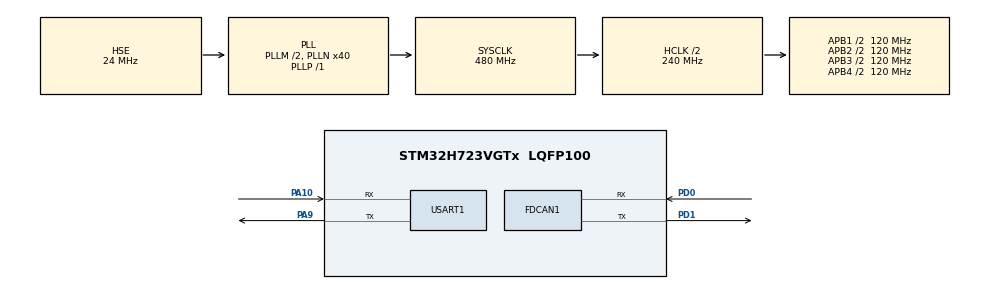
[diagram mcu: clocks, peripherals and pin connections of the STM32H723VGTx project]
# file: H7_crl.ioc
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CORTEX_M7.default_mode_Activation=1
Dma.Request0=USART1_TX
Dma.USART1_TX.0.Direction=DMA_MEMORY_TO_PERIPH
Dma.USART1_TX.0.EventEnable=DISABLE
Dma.USART1_TX.0.FIFOMode=DMA_FIFOMODE_DISABLE
Dma.USART1_TX.0.Instance=DMA1_Stream0
Dma.USART1_TX.0.MemDataAlignment=DMA_MDATAALIGN_BYTE
Dma.USART1_TX.0.MemInc=DMA_MINC_ENABLE
Dma.USART1_TX.0.Mode=DMA_NORMAL
Dma.USART1_TX.0.PeriphDataAlignment=DMA_PDATAALIGN_BYTE
Dma.USART1_TX.0.PeriphInc=DMA_PINC_DISABLE
Dma.USART1_TX.0.Polarity=HAL_DMAMUX_REQ_GEN_RISING
Dma.USART1_TX.0.Priority=DMA_PRIORITY_LOW
Dma.USART1_TX.0.RequestNumber=1
Dma.USART1_TX.0.SignalID=NONE
Dma.USART1_TX.0.SyncEnable=DISABLE
Dma.USART1_TX.0.SyncPolarity=HAL_DMAMUX_SYNC_NO_EVENT
Dma.USART1_TX.0.SyncRequestNumber=1
Dma.USART1_TX.0.SyncSignalID=NONE
FDCAN1.CalculateBaudRateNominal=1000000
FDCAN1.CalculateTimeBitNominal=1000
FDCAN1.CalculateTimeQuantumNominal=25.0
FDCAN1.DataPrescaler=3
FDCAN1.DataSyncJumpWidth=10
FDCAN1.DataTimeSeg1=29
FDCAN1.DataTimeSeg2=10
FDCAN1.NominalPrescaler=3
FDCAN1.NominalSyncJumpWidth=10
FDCAN1.NominalTimeSeg1=29
FDCAN1.NominalTimeSeg2=10
FDCAN1.RxFifo0ElmtsNbr=4
FDCAN1.StdFiltersNbr=1
FDCAN1.TxFifoQueueElmtsNbr=3
Mcu.Family=STM32H7
Mcu.Name=STM32H723VGTx
Mcu.Package=LQFP100
NVIC.DMA1_Stream0_IRQn=true\:0\:0\:false\:false\:true\:false\:true\:true
NVIC.FDCAN1_IT0_IRQn=true\:0\:0\:false\:false\:true\:true\:true\:true
NVIC.PriorityGroup=NVIC_PRIORITYGROUP_4
PA10.Mode=Asynchronous
PA10.Signal=USART1_RX
PA13(JTMS/SWDIO).Mode=Serial_Wire
PA13(JTMS/SWDIO).Signal=DEBUG_JTMS-SWDIO
PA14(JTCK/SWCLK).Mode=Serial_Wire
PA14(JTCK/SWCLK).Signal=DEBUG_JTCK-SWCLK
PA9.Mode=Asynchronous
PA9.Signal=USART1_TX
PD0.Mode=FDCAN_Activate
PD0.Signal=FDCAN1_RX
PD1.Mode=FDCAN_Activate
PD1.Signal=FDCAN1_TX
PH0-OSC_IN.Mode=HSE-External-Oscillator
PH0-OSC_IN.Signal=RCC_OSC_IN
PH1-OSC_OUT.Mode=HSE-External-Oscillator
PH1-OSC_OUT.Signal=RCC_OSC_OUT
ProjectManager.HeapSize=0x200
ProjectManager.StackSize=0x400
ProjectManager.TargetToolchain=MDK-ARM V5.32
RCC.ADCFreq_Value=84500000
RCC.APB1Freq_Value=120000000
RCC.APB2Freq_Value=120000000
RCC.APB3Freq_Value=120000000
RCC.APB4Freq_Value=120000000
RCC.CortexFreq_Value=480000000
RCC.D1PPRE=RCC_APB3_DIV2
RCC.D2PPRE1=RCC_APB1_DIV2
RCC.D2PPRE2=RCC_APB2_DIV2
RCC.D3PPRE=RCC_APB4_DIV2
RCC.DIVM1=2
RCC.DIVM2=24
RCC.DIVN1=40
RCC.DIVN2=169
RCC.DIVP1=1
RCC.DIVQ1=4
RCC.DIVQ2=3
RCC.HCLKFreq_Value=240000000
RCC.HPRE=RCC_HCLK_DIV2
RCC.HSE_VALUE=24000000
RCC.PLLSourceVirtual=RCC_PLLSOURCE_HSE
RCC.SYSCLKFreq_VALUE=480000000
RCC.SYSCLKSource=RCC_SYSCLKSOURCE_PLLCLK
RCC.USART16CLockSelection=RCC_USART16910CLKSOURCE_PLL2
RCC.USBFreq_Value=120000000
USART1.VirtualMode-Asynchronous=VM_ASYNC
board=custom

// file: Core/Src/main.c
/* USER CODE BEGIN Header */
/**
  ******************************************************************************
  * @file           : main.c
  * @brief          : Main program body
  ******************************************************************************
  * @attention
  *
  * Copyright (c) 2026 STMicroelectronics.
  * All rights reserved.
  *
  * This software is licensed under terms that can be found in the LICENSE file
  * in the root directory of this software component.
  * If no LICENSE file comes with this software, it is provided AS-IS.
  *
  ******************************************************************************
  */
/* USER CODE END Header */
#include "main.h"
#include "dma.h"
#include "fdcan.h"
#include "usart.h"
#include "gpio.h"

/* USER CODE BEGIN Includes */
#include "motor.h"
#include "PID.h"
#include "vofa.h"

/* USER CODE END Includes */

/* USER CODE BEGIN PV */
static float pid_para[2][3] = {{1,0.001,0},{0.1,0.03,0}};
float t=0;
/* USER CODE END PV */

void SystemClock_Config(void);
static void MPU_Config(void);

int main(void)
{

  /* MPU Configuration--------------------------------------------------------*/
  MPU_Config();

  /* MCU Configuration--------------------------------------------------------*/

  /* Reset of all peripherals, Initializes the Flash interface and the Systick. */
  HAL_Init();

  /* Configure the system clock */
  SystemClock_Config();

  /* Initialize all configured peripherals */
  MX_GPIO_Init();
  MX_DMA_Init();
  MX_FDCAN1_Init();
  MX_USART1_UART_Init();
  /* USER CODE BEGIN 2 */
	bsp_can_init();
	dm_motor_init();

	PID_TypeDef motor_angle_PID;
	PID_TypeDef motor_speed_PID;

	PID_Init(&motor_angle_PID, 0,0,0);
	PID_Init(&motor_speed_PID, 0,0,0);
	enable_motor(&hfdcan1, 0x01);
	PID_SetOutputLimit(&motor_angle_PID,5,-5);
	PID_SetOutputLimit(&motor_speed_PID,5,-5);
	PID_SetIntegralLimit(&motor_angle_PID,5,-5);
	PID_SetIntegralLimit(&motor_speed_PID,5,-5);

  /* USER CODE END 2 */

  /* Infinite loop */
  /* USER CODE BEGIN WHILE */
  while (1)
  {

		motor_angle_PID.kp = pid_para[0][0];
		motor_angle_PID.ki = pid_para[0][1];
		motor_angle_PID.kd = pid_para[0][2];

	float p_target=motor.ctrl.pos_set=t;
	PID_SetTarget(&motor_angle_PID, p_target);
	float p_feedback= motor.para.pos;
	PID_SetFeedback(&motor_angle_PID , p_feedback);
	float v_target=PID_Calculate(&motor_angle_PID, PID_POSITION );

		motor_speed_PID.kp = pid_para[1][0];
		motor_speed_PID.ki = pid_para[1][1];
		motor_speed_PID.kd = pid_para[1][2];

	PID_SetTarget(&motor_speed_PID, v_target);
	float v_feedback= motor.para.vel;
	PID_SetFeedback(&motor_speed_PID , v_feedback);

	float tor=PID_Calculate(&motor_speed_PID, PID_POSITION );

	mit_ctrl(&hfdcan1, &motor,0x01, 0, 0, 0,  0,  tor);

	HAL_Delay(5);

	vofa_buff[0] = p_target;
  vofa_buff[1] = p_feedback;
	vofa_buff[2] = v_target;
  vofa_buff[3] = v_feedback;
	JustFloat(vofa_buff,4);

    /* USER CODE END WHILE */

    /* USER CODE BEGIN 3 */
  }

	//disable_motor(&hfdcan1, 0x01);

  /* USER CODE END 3 */
}

void SystemClock_Config(void)
{
  RCC_OscInitTypeDef RCC_OscInitStruct = {0};
  RCC_ClkInitTypeDef RCC_ClkInitStruct = {0};

  /** Supply configuration update enable
  */
  HAL_PWREx_ConfigSupply(PWR_LDO_SUPPLY);

  /** Configure the main internal regulator output voltage
  */
  __HAL_PWR_VOLTAGESCALING_CONFIG(PWR_REGULATOR_VOLTAGE_SCALE0);

  while(!__HAL_PWR_GET_FLAG(PWR_FLAG_VOSRDY)) {}

  /** Initializes the RCC Oscillators according to the specified parameters
  * in the RCC_OscInitTypeDef structure.
  */
  RCC_OscInitStruct.OscillatorType = RCC_OSCILLATORTYPE_HSE;
  RCC_OscInitStruct.HSEState = RCC_HSE_ON;
  RCC_OscInitStruct.PLL.PLLState = RCC_PLL_ON;
  RCC_OscInitStruct.PLL.PLLSource = RCC_PLLSOURCE_HSE;
  RCC_OscInitStruct.PLL.PLLM = 2;
  RCC_OscInitStruct.PLL.PLLN = 40;
  RCC_OscInitStruct.PLL.PLLP = 1;
  RCC_OscInitStruct.PLL.PLLQ = 4;
  RCC_OscInitStruct.PLL.PLLR = 2;
  RCC_OscInitStruct.PLL.PLLRGE = RCC_PLL1VCIRANGE_3;
  RCC_OscInitStruct.PLL.PLLVCOSEL = RCC_PLL1VCOWIDE;
  RCC_OscInitStruct.PLL.PLLFRACN = 0;
  if (HAL_RCC_OscConfig(&RCC_OscInitStruct) != HAL_OK)
  {
    Error_Handler();
  }

  /** Initializes the CPU, AHB and APB buses clocks
  */
  RCC_ClkInitStruct.ClockType = RCC_CLOCKTYPE_HCLK|RCC_CLOCKTYPE_SYSCLK
                              |RCC_CLOCKTYPE_PCLK1|RCC_CLOCKTYPE_PCLK2
                              |RCC_CLOCKTYPE_D3PCLK1|RCC_CLOCKTYPE_D1PCLK1;
  RCC_ClkInitStruct.SYSCLKSource = RCC_SYSCLKSOURCE_PLLCLK;
  RCC_ClkInitStruct.SYSCLKDivider = RCC_SYSCLK_DIV1;
  RCC_ClkInitStruct.AHBCLKDivider = RCC_HCLK_DIV2;
  RCC_ClkInitStruct.APB3CLKDivider = RCC_APB3_DIV2;
  RCC_ClkInitStruct.APB1CLKDivider = RCC_APB1_DIV2;
  RCC_ClkInitStruct.APB2CLKDivider = RCC_APB2_DIV2;
  RCC_ClkInitStruct.APB4CLKDivider = RCC_APB4_DIV2;

  if (HAL_RCC_ClockConfig(&RCC_ClkInitStruct, FLASH_LATENCY_3) != HAL_OK)
  {
    Error_Handler();
  }
}

 /* MPU Configuration */

void MPU_Config(void)
{
  MPU_Region_InitTypeDef MPU_InitStruct = {0};

  /* Disables the MPU */
  HAL_MPU_Disable();

  /** Initializes and configures the Region and the memory to be protected
  */
  MPU_InitStruct.Enable = MPU_REGION_ENABLE;
  MPU_InitStruct.Number = MPU_REGION_NUMBER0;
  MPU_InitStruct.BaseAddress = 0x0;
  MPU_InitStruct.Size = MPU_REGION_SIZE_4GB;
  MPU_InitStruct.SubRegionDisable = 0x87;
  MPU_InitStruct.TypeExtField = MPU_TEX_LEVEL0;
  MPU_InitStruct.AccessPermission = MPU_REGION_NO_ACCESS;
  MPU_InitStruct.DisableExec = MPU_INSTRUCTION_ACCESS_DISABLE;
  MPU_InitStruct.IsShareable = MPU_ACCESS_SHAREABLE;
  MPU_InitStruct.IsCacheable = MPU_ACCESS_NOT_CACHEABLE;
  MPU_InitStruct.IsBufferable = MPU_ACCESS_NOT_BUFFERABLE;

  HAL_MPU_ConfigRegion(&MPU_InitStruct);
  /* Enables the MPU */
  HAL_MPU_Enable(MPU_PRIVILEGED_DEFAULT);

}

void Error_Handler(void)
{
  __disable_irq();
  while (1)
  {
  }
}
